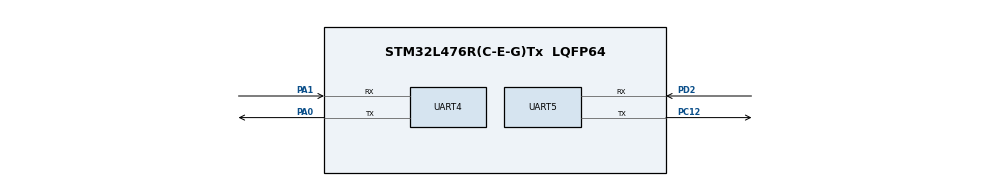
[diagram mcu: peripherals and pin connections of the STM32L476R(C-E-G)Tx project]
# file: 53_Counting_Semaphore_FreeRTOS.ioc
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FREERTOS.Tasks01=defaultTask,24,128,StartDefaultTask,Default,NULL,Dynamic,NULL,NULL
Mcu.Family=STM32L4
Mcu.Name=STM32L476R(C-E-G)Tx
Mcu.Package=LQFP64
NVIC.PriorityGroup=NVIC_PRIORITYGROUP_4
PA0.Mode=Asynchronous
PA0.Signal=UART4_TX
PA1.Mode=Asynchronous
PA1.Signal=UART4_RX
PC12.Mode=Asynchronous
PC12.Signal=UART5_TX
PD2.Mode=Asynchronous
PD2.Signal=UART5_RX
ProjectManager.HeapSize=0x200
ProjectManager.StackSize=0x400
ProjectManager.TargetToolchain=STM32CubeIDE
RCC.HSE_VALUE=8000000
RCC.HSI_VALUE=16000000
RCC.LSE_VALUE=32768
RCC.MSI_VALUE=4000000
RCC.VCOOutputFreq_Value=32000000
VP_FREERTOS_VS_CMSIS_V2.Mode=CMSIS_V2
board=custom

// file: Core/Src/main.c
/* USER CODE BEGIN Header */
/**
  ******************************************************************************
  * @file           : main.c
  * @brief          : Main program body
  ******************************************************************************
  * @attention
  *
  * Copyright (c) 2026 STMicroelectronics.
  * All rights reserved.
  *
  * This software is licensed under terms that can be found in the LICENSE file
  * in the root directory of this software component.
  * If no LICENSE file comes with this software, it is provided AS-IS.
  *
  ******************************************************************************
  */
/* USER CODE END Header */
#include "main.h"
#include "cmsis_os.h"

/* USER CODE BEGIN Includes */
#include "task.h"
#include "semphr.h"
#include "FreeRTOS.h"
/* USER CODE END Includes */

UART_HandleTypeDef huart4;
UART_HandleTypeDef huart5;

/* Definitions for defaultTask */
osThreadId_t defaultTaskHandle;
const osThreadAttr_t defaultTask_attributes = {
  .name = "defaultTask",
  .stack_size = 128 * 4,
  .priority = (osPriority_t) osPriorityNormal,
};
/* USER CODE BEGIN PV */
SemaphoreHandle_t xUartSemaphore;
/* USER CODE END PV */

void SystemClock_Config(void);
static void MX_GPIO_Init(void);
static void MX_UART4_Init(void);
static void MX_UART5_Init(void);
void StartDefaultTask(void *argument);

/* USER CODE BEGIN PFP */
void Task1(void *arg);
void Task2(void *arg);
void Task3(void *arg);

/* USER CODE END PFP */

int main(void)
{

  /* MCU Configuration--------------------------------------------------------*/

  /* Reset of all peripherals, Initializes the Flash interface and the Systick. */
  HAL_Init();

  /* Configure the system clock */
  SystemClock_Config();

  /* Initialize all configured peripherals */
  MX_GPIO_Init();
  MX_UART4_Init();
  MX_UART5_Init();

  /* Init scheduler */
  osKernelInitialize();

  /* Create the thread(s) */
  /* creation of defaultTask */
  defaultTaskHandle = osThreadNew(StartDefaultTask, NULL, &defaultTask_attributes);

  /* USER CODE BEGIN RTOS_THREADS */
  /* add threads, ... */
  xUartSemaphore = xSemaphoreCreateCounting(2, 2);

  xTaskCreate(Task1, "Task1", 128, NULL, 2, NULL);
  xTaskCreate(Task2, "Task2", 128, NULL, 2, NULL);
  xTaskCreate(Task3, "Task3", 128, NULL, 2, NULL);
  /* USER CODE END RTOS_THREADS */

  /* Start scheduler */
  osKernelStart();

  /* We should never get here as control is now taken by the scheduler */

  /* Infinite loop */
  while (1)
  {

  }
}

void SystemClock_Config(void)
{
  RCC_OscInitTypeDef RCC_OscInitStruct = {0};
  RCC_ClkInitTypeDef RCC_ClkInitStruct = {0};

  /** Configure the main internal regulator output voltage
  */
  if (HAL_PWREx_ControlVoltageScaling(PWR_REGULATOR_VOLTAGE_SCALE1) != HAL_OK)
  {
    Error_Handler();
  }

  /** Initializes the RCC Oscillators according to the specified parameters
  * in the RCC_OscInitTypeDef structure.
  */
  RCC_OscInitStruct.OscillatorType = RCC_OSCILLATORTYPE_MSI;
  RCC_OscInitStruct.MSIState = RCC_MSI_ON;
  RCC_OscInitStruct.MSICalibrationValue = 0;
  RCC_OscInitStruct.MSIClockRange = RCC_MSIRANGE_6;
  RCC_OscInitStruct.PLL.PLLState = RCC_PLL_NONE;
  if (HAL_RCC_OscConfig(&RCC_OscInitStruct) != HAL_OK)
  {
    Error_Handler();
  }

  /** Initializes the CPU, AHB and APB buses clocks
  */
  RCC_ClkInitStruct.ClockType = RCC_CLOCKTYPE_HCLK|RCC_CLOCKTYPE_SYSCLK
                              |RCC_CLOCKTYPE_PCLK1|RCC_CLOCKTYPE_PCLK2;
  RCC_ClkInitStruct.SYSCLKSource = RCC_SYSCLKSOURCE_MSI;
  RCC_ClkInitStruct.AHBCLKDivider = RCC_SYSCLK_DIV1;
  RCC_ClkInitStruct.APB1CLKDivider = RCC_HCLK_DIV1;
  RCC_ClkInitStruct.APB2CLKDivider = RCC_HCLK_DIV1;

  if (HAL_RCC_ClockConfig(&RCC_ClkInitStruct, FLASH_LATENCY_0) != HAL_OK)
  {
    Error_Handler();
  }
}

static void MX_UART4_Init(void)
{

  huart4.Instance = UART4;
  huart4.Init.BaudRate = 115200;
  huart4.Init.WordLength = UART_WORDLENGTH_8B;
  huart4.Init.StopBits = UART_STOPBITS_1;
  huart4.Init.Parity = UART_PARITY_NONE;
  huart4.Init.Mode = UART_MODE_TX_RX;
  huart4.Init.HwFlowCtl = UART_HWCONTROL_NONE;
  huart4.Init.OverSampling = UART_OVERSAMPLING_16;
  huart4.Init.OneBitSampling = UART_ONE_BIT_SAMPLE_DISABLE;
  huart4.AdvancedInit.AdvFeatureInit = UART_ADVFEATURE_NO_INIT;
  if (HAL_UART_Init(&huart4) != HAL_OK)
  {
    Error_Handler();
  }

}

static void MX_UART5_Init(void)
{

  huart5.Instance = UART5;
  huart5.Init.BaudRate = 115200;
  huart5.Init.WordLength = UART_WORDLENGTH_8B;
  huart5.Init.StopBits = UART_STOPBITS_1;
  huart5.Init.Parity = UART_PARITY_NONE;
  huart5.Init.Mode = UART_MODE_TX_RX;
  huart5.Init.HwFlowCtl = UART_HWCONTROL_NONE;
  huart5.Init.OverSampling = UART_OVERSAMPLING_16;
  huart5.Init.OneBitSampling = UART_ONE_BIT_SAMPLE_DISABLE;
  huart5.AdvancedInit.AdvFeatureInit = UART_ADVFEATURE_NO_INIT;
  if (HAL_UART_Init(&huart5) != HAL_OK)
  {
    Error_Handler();
  }

}

static void MX_GPIO_Init(void)
{

  /* GPIO Ports Clock Enable */
  __HAL_RCC_GPIOA_CLK_ENABLE();
  __HAL_RCC_GPIOC_CLK_ENABLE();
  __HAL_RCC_GPIOD_CLK_ENABLE();

}

/* USER CODE BEGIN 4 */
void Task1(void *arg)
{
    while(1)
    {
        xSemaphoreTake(xUartSemaphore, portMAX_DELAY);

        HAL_UART_Transmit(&huart4,
                         (uint8_t*)"Task1 using UART4\r\n",
                         strlen("Task1 using UART4\r\n"),
                         HAL_MAX_DELAY);

        vTaskDelay(pdMS_TO_TICKS(3000));

        xSemaphoreGive(xUartSemaphore);

        vTaskDelay(pdMS_TO_TICKS(1000));
    }
}

void Task2(void *arg)
{
    while(1)
    {
        xSemaphoreTake(xUartSemaphore, portMAX_DELAY);

        HAL_UART_Transmit(&huart5,
                         (uint8_t*)"Task2 using UART5\r\n",
                         strlen("Task2 using UART5\r\n"),
                         HAL_MAX_DELAY);

        vTaskDelay(pdMS_TO_TICKS(3000));

        xSemaphoreGive(xUartSemaphore);

        vTaskDelay(pdMS_TO_TICKS(1000));
    }
}

void Task3(void *arg)
{
    while(1)
    {
        xSemaphoreTake(xUartSemaphore, portMAX_DELAY);

        HAL_UART_Transmit(&huart4,
                         (uint8_t*)"Task3 using UART\r\n",
                         strlen("Task3 using UART\r\n"),
                         HAL_MAX_DELAY);

        vTaskDelay(pdMS_TO_TICKS(3000));

        xSemaphoreGive(xUartSemaphore);

        vTaskDelay(pdMS_TO_TICKS(1000));
    }
}
/* USER CODE END 4 */

void StartDefaultTask(void *argument)
{
  /* USER CODE BEGIN 5 */
//  /* Infinite loop */
//  for(;;)
//  {
//    osDelay(1);
//  }
  /* USER CODE END 5 */
}

void Error_Handler(void)
{
  __disable_irq();
  while (1)
  {
  }
}
